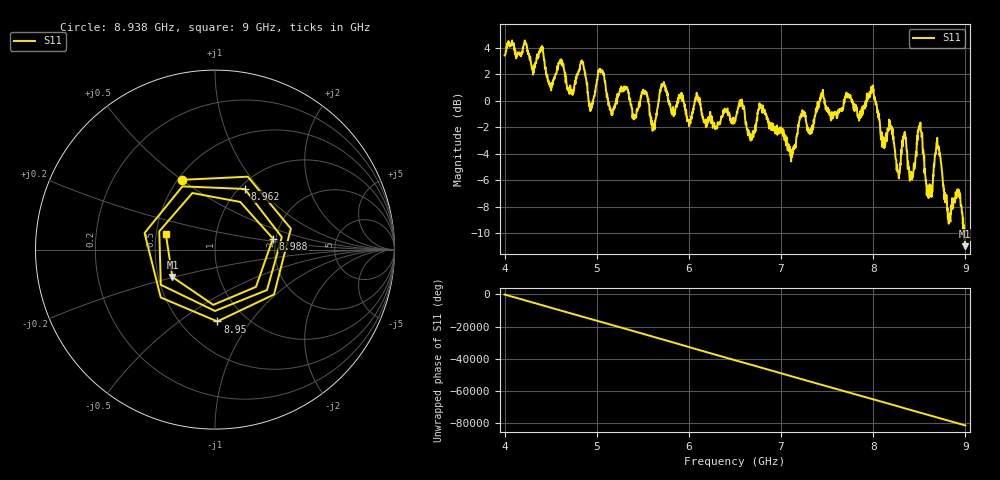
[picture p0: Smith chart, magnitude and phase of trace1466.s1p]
! Created with skrf 1.8.0 (http://scikit-rf.org).
# Hz S RI R 50.0
!freq ReS11 ImS11
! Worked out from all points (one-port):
!   1601 points, 4 GHz to 9 GHz, reference 50 ohm
!   lowest |S11| = -11.0 dB at 8.997 GHz (marker M1), VSWR 1.79, Z = 29.6 - j9.82 ohm
!   |S11| at or under -10 dB: 8.982743 GHz to 8.986276 GHz (3.533 MHz wide, 0.0393 % of centre); 8.989837 GHz to end of sweep
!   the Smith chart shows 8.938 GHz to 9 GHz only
!   S11 on the Smith chart (normalised r, x): 8.938 GHz: 0.52, +0.50; 8.95 GHz: 0.74, -0.71; 8.962 GHz: 1.06, +0.83; 8.988 GHz: 1.93, +0.27; 9 GHz: 0.56, +0.10
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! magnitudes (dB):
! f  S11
! 4 GHz  3.4
! 4.625 GHz  3.0
! 4.722 GHz  0.5
! 4.844 GHz  2.9
! 4.934 GHz  -0.4
! 5.041 GHz  2.1
! 5.159 GHz  -1.1
! 5.25 GHz  0.7
! 5.612 GHz  -1.7
! 5.875 GHz  -0.3
! 6.5 GHz  -1.5
! 6.788 GHz  -0.5
! 7.125 GHz  -4.0
! 7.234 GHz  -0.8
! 7.75 GHz  0.4
! 7.994 GHz  1.1
! 8.106 GHz  -3.4
! 8.375 GHz  -5.2
! 8.509 GHz  -1.9
! 8.6 GHz  -7.3
! 8.7 GHz  -3.5
! 8.812 GHz  -8.9
! 8.938 GHz  -7.3
! 8.95 GHz  -7.9
! 8.962 GHz  -8.5
! 8.988 GHz  -9.7
! 8.997 GHz  -11.0
! 9 GHz  -10.9
